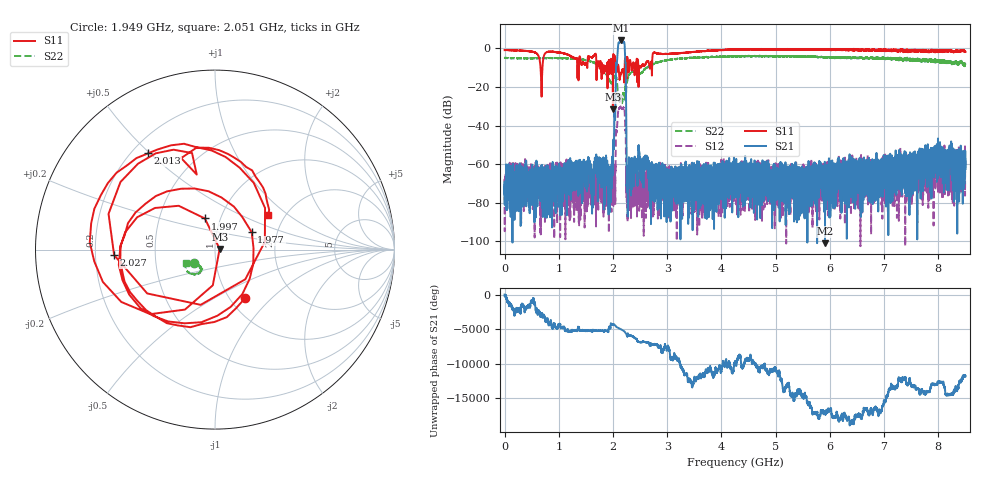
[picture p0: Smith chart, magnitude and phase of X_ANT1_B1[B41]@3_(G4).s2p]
#  HZ  S  RI  R  50.00
! Rohde & Schwarz Vector Network Analyzer
! Rohde-Schwarz,ZNBT8-20Port,1318700624101681,3.50
! Created: UTC 7/15/2025, 2:11:06 PM
! freq[Hz]  re:S1010  im:S1010  re:S0310  im:S0310  re:S1003  im:S1003  re:S33  im:S33
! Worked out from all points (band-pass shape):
!   8500 points, 1 MHz to 8.5 GHz, reference 50 ohm
!   highest |S21| = 4.06 dB at 2.146 GHz (marker M1); lowest = -101.0 dB at 5.911 GHz (marker M2)
!   |S21| within 3 dB of the highest: 2.093 GHz to 2.216 GHz (122.8 MHz wide, 5.7 % of centre)
!   lowest |S11| = -31.6 dB at 1.998 GHz (marker M3), VSWR 1.05, Z = 52.7 + j0.414 ohm
!   |S11| at or under -10 dB: 664 MHz to 698.6 MHz (34.64 MHz wide, 5.08 % of centre); 2.058 GHz to 2.086 GHz (27.53 MHz wide, 1.33 % of centre); 2.104 GHz to 2.214 GHz (109.8 MHz wide, 5.08 % of centre)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
!   |S22| runs from -28.4 to -3.8 dB; largest |S21 - S12| = 1.6
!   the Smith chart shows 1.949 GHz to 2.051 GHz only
!   S11 on the Smith chart (normalised r, x): 1.949 GHz: 1.18, -0.70; 1.977 GHz: 1.48, +0.30; 1.997 GHz: 0.84, +0.30; 2.013 GHz: 0.26, +0.49; 2.027 GHz: 0.28, -0.03; 2.051 GHz: 1.65, +0.72
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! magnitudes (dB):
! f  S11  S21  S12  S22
! 1 MHz  -0.9  -75.9  -74.8  -5.0
! 676 MHz  -17.9  -69.7  -69.0  -5.1
! 804 MHz  -1.9  -84.7  -65.8  -5.1
! 1.418 GHz  -8.5  -70.4  -69.1  -5.8
! 1.949 GHz  -10.0  -63.8  -73.9  -17.1
! 1.977 GHz  -12.9  -65.1  -65.6  -17.9
! 1.997 GHz  -14.8  -57.5  -76.1  -17.0
! 1.998 GHz  -31.6  -53.6  -71.7  -17.1
! 2.013 GHz  -3.7  -51.1  -67.5  -15.7
! 2.027 GHz  -5.0  -33.8  -61.5  -14.8
! 2.051 GHz  -9.0  -17.4  -52.9  -15.1
! 2.093 GHz  -8.5  1.0  -33.4  -24.6
! 2.146 GHz  -13.0  4.1  -30.2  -24.8
! 2.205 GHz  -16.6  3.0  -31.3  -24.1
! 2.293 GHz  -10.2  -61.5  -78.3  -14.1
! 2.605 GHz  -7.9  -57.3  -80.1  -10.3
! 2.834 GHz  -2.8  -63.7  -81.5  -7.3
! 4.251 GHz  -0.6  -66.6  -65.9  -4.1
! 5.667 GHz  -0.4  -63.5  -78.8  -4.4
! 5.911 GHz  -0.8  -101.0  -64.5  -4.6
! 7.084 GHz  -0.9  -67.0  -68.4  -5.0
! 8.5 GHz  -1.8  -58.7  -64.2  -8.4
